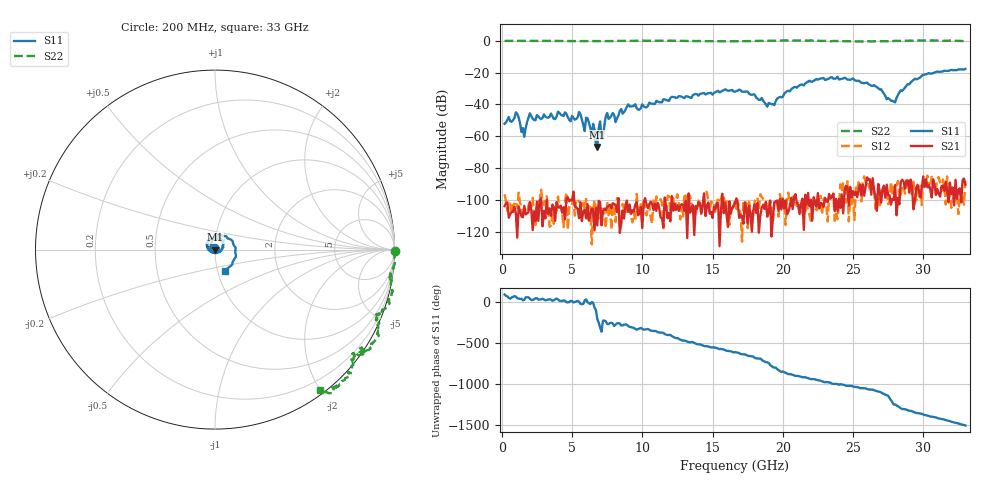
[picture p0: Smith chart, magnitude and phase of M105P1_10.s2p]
# GHZ S RI R 50
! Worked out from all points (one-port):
!   329 points, 200 MHz to 33 GHz, reference 50 ohm
!   lowest |S11| = -66.7 dB at 6.8 GHz (marker M1), VSWR 1.00, Z = 50 + j0.0257 ohm
!   |S11| at or under -10 dB: start of sweep to end of sweep
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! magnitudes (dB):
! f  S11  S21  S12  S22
! 200 MHz  -52.1  -103.9  -96.5  0.0
! 1 GHz  -44.9  -108.4  -100.8  0.0
! 1.6 GHz  -60.3  -103.7  -105.5  0.0
! 2 GHz  -45.5  -101.4  -100.5  0.1
! 5.7 GHz  -49.5  -113.3  -104.6  -0.1
! 6.1 GHz  -48.6  -102.7  -111.8  -0.1
! 6.4 GHz  -59.9  -105.4  -128.0  -0.1
! 6.5 GHz  -52.2  -106.1  -106.2  -0.1
! 6.8 GHz  -66.7  -116.1  -104.3  -0.1
! 7 GHz  -50.6  -101.3  -102.7  -0.1
! 7.2 GHz  -60.8  -107.2  -106.0  -0.1
! 7.5 GHz  -45.4  -104.7  -101.0  -0.2
! 8.1 GHz  -51.1  -103.7  -113.8  0.0
! 9 GHz  -39.9  -107.5  -102.0  0.0
! 11.2 GHz  -38.6  -105.1  -101.8  0.1
! 16.6 GHz  -32.0  -102.1  -99.9  -0.2
! 18.9 GHz  -41.3  -110.6  -106.6  0.1
! 22.1 GHz  -25.6  -113.1  -106.1  0.2
! 25 GHz  -23.6  -94.5  -98.6  -0.3
! 27.6 GHz  -36.7  -97.2  -100.7  -0.1
! 30 GHz  -21.2  -85.2  -86.5  0.2
! 33 GHz  -17.6  -90.4  -88.4  -0.2
